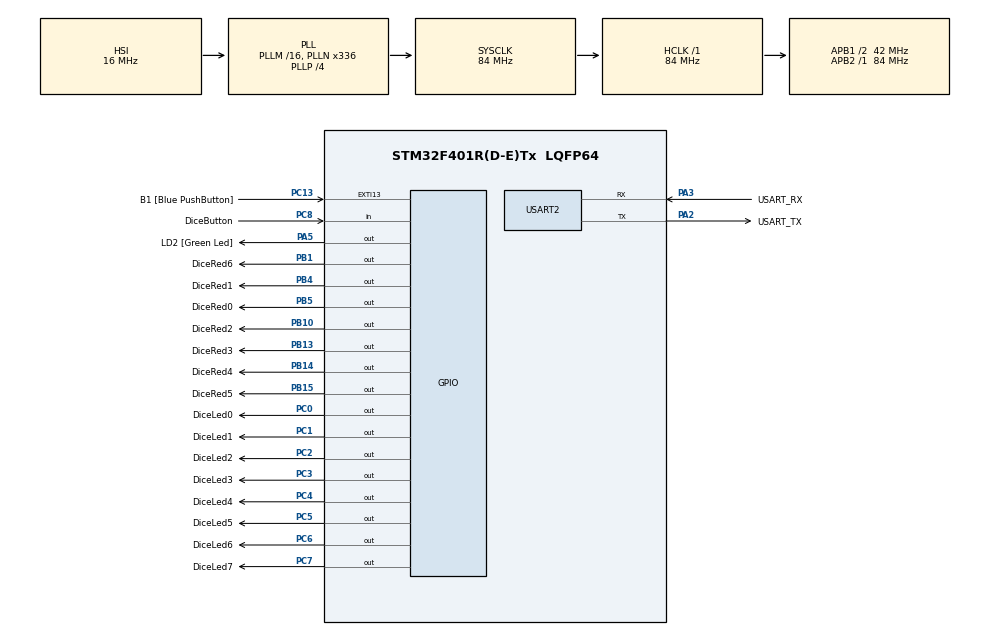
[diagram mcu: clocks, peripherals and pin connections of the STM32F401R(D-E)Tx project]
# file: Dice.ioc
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Mcu.Family=STM32F4
Mcu.Name=STM32F401R(D-E)Tx
Mcu.Package=LQFP64
NVIC.PriorityGroup=NVIC_PRIORITYGROUP_0
PA13.GPIO_Label=TMS
PA13.Mode=Serial_Wire
PA13.Signal=SYS_JTMS-SWDIO
PA14.GPIO_Label=TCK
PA14.Mode=Serial_Wire
PA14.Signal=SYS_JTCK-SWCLK
PA2.GPIO_Label=USART_TX
PA2.GPIO_Mode=GPIO_MODE_AF_PP
PA2.GPIO_PuPd=GPIO_NOPULL
PA2.GPIO_Speed=GPIO_SPEED_FREQ_LOW
PA2.Mode=Asynchronous
PA2.Signal=USART2_TX
PA3.GPIO_Label=USART_RX
PA3.GPIO_Mode=GPIO_MODE_AF_PP
PA3.GPIO_PuPd=GPIO_NOPULL
PA3.GPIO_Speed=GPIO_SPEED_FREQ_LOW
PA3.Mode=Asynchronous
PA3.Signal=USART2_RX
PA5.GPIO_Label=LD2 [Green Led]
PA5.GPIO_Mode=GPIO_MODE_OUTPUT_PP
PA5.GPIO_PuPd=GPIO_NOPULL
PA5.GPIO_Speed=GPIO_SPEED_FREQ_LOW
PA5.Signal=GPIO_Output
PB1.GPIO_Label=DiceRed6
PB1.Signal=GPIO_Output
PB10.GPIO_Label=DiceRed2
PB10.Signal=GPIO_Output
PB13.GPIO_Label=DiceRed3
PB13.Signal=GPIO_Output
PB14.GPIO_Label=DiceRed4
PB14.Signal=GPIO_Output
PB15.GPIO_Label=DiceRed5
PB15.Signal=GPIO_Output
PB3.GPIO_Label=SWO
PB3.Signal=SYS_JTDO-SWO
PB4.GPIO_Label=DiceRed1
PB4.Signal=GPIO_Output
PB5.GPIO_Label=DiceRed0
PB5.Signal=GPIO_Output
PC0.GPIO_Label=DiceLed0
PC0.GPIO_ModeDefaultOutputPP=GPIO_MODE_OUTPUT_PP
PC0.GPIO_PuPd=GPIO_NOPULL
PC0.GPIO_Speed=GPIO_SPEED_FREQ_LOW
PC0.PinState=GPIO_PIN_RESET
PC0.Signal=GPIO_Output
PC1.GPIO_Label=DiceLed1
PC1.GPIO_ModeDefaultOutputPP=GPIO_MODE_OUTPUT_PP
PC1.GPIO_PuPd=GPIO_NOPULL
PC1.GPIO_Speed=GPIO_SPEED_FREQ_LOW
PC1.PinState=GPIO_PIN_RESET
PC1.Signal=GPIO_Output
PC13-ANTI_TAMP.GPIO_Label=B1 [Blue PushButton]
PC13-ANTI_TAMP.GPIO_ModeDefaultEXTI=GPIO_MODE_IT_FALLING
PC13-ANTI_TAMP.GPIO_PuPd=GPIO_NOPULL
PC13-ANTI_TAMP.Signal=GPXTI13
PC14-OSC32_IN.Mode=LSE-External-Oscillator
PC14-OSC32_IN.Signal=RCC_OSC32_IN
PC15-OSC32_OUT.Mode=LSE-External-Oscillator
PC15-OSC32_OUT.Signal=RCC_OSC32_OUT
PC2.GPIO_Label=DiceLed2
PC2.GPIO_ModeDefaultOutputPP=GPIO_MODE_OUTPUT_PP
PC2.GPIO_PuPd=GPIO_NOPULL
PC2.GPIO_Speed=GPIO_SPEED_FREQ_LOW
PC2.PinState=GPIO_PIN_RESET
PC2.Signal=GPIO_Output
PC3.GPIO_Label=DiceLed3
PC3.GPIO_ModeDefaultOutputPP=GPIO_MODE_OUTPUT_PP
PC3.GPIO_PuPd=GPIO_NOPULL
PC3.GPIO_Speed=GPIO_SPEED_FREQ_LOW
PC3.PinState=GPIO_PIN_RESET
PC3.Signal=GPIO_Output
PC4.GPIO_Label=DiceLed4
PC4.GPIO_ModeDefaultOutputPP=GPIO_MODE_OUTPUT_PP
PC4.GPIO_PuPd=GPIO_NOPULL
PC4.GPIO_Speed=GPIO_SPEED_FREQ_LOW
PC4.PinState=GPIO_PIN_RESET
PC4.Signal=GPIO_Output
PC5.GPIO_Label=DiceLed5
PC5.GPIO_ModeDefaultOutputPP=GPIO_MODE_OUTPUT_PP
PC5.GPIO_PuPd=GPIO_NOPULL
PC5.GPIO_Speed=GPIO_SPEED_FREQ_LOW
PC5.PinState=GPIO_PIN_RESET
PC5.Signal=GPIO_Output
PC6.GPIO_Label=DiceLed6
PC6.GPIO_ModeDefaultOutputPP=GPIO_MODE_OUTPUT_PP
PC6.GPIO_PuPd=GPIO_NOPULL
PC6.GPIO_Speed=GPIO_SPEED_FREQ_LOW
PC6.PinState=GPIO_PIN_RESET
PC6.Signal=GPIO_Output
PC7.GPIO_Label=DiceLed7
PC7.Signal=GPIO_Output
PC8.GPIO_Label=DiceButton
PC8.GPIO_PuPd=GPIO_PULLUP
PC8.Signal=GPIO_Input
PH0\ -\ OSC_IN.Mode=HSE-External-Clock-Source
PH0\ -\ OSC_IN.Signal=RCC_OSC_IN
PH1\ -\ OSC_OUT.Mode=HSE-External-Clock-Source
PH1\ -\ OSC_OUT.Signal=RCC_OSC_OUT
ProjectManager.HeapSize=0x200
ProjectManager.StackSize=0x400
ProjectManager.TargetToolchain=STM32CubeIDE
RCC.48MHZClocksFreq_Value=48000000
RCC.AHBFreq_Value=84000000
RCC.APB1CLKDivider=RCC_HCLK_DIV2
RCC.APB1Freq_Value=42000000
RCC.APB1TimFreq_Value=84000000
RCC.APB2Freq_Value=84000000
RCC.APB2TimFreq_Value=84000000
RCC.CortexFreq_Value=84000000
RCC.HCLKFreq_Value=84000000
RCC.HSE_VALUE=8000000
RCC.HSI_VALUE=16000000
RCC.PLLN=336
RCC.PLLP=RCC_PLLP_DIV4
RCC.PLLQ=7
RCC.SYSCLKFreq_VALUE=84000000
RCC.SYSCLKSource=RCC_SYSCLKSOURCE_PLLCLK
RCC.VCOOutputFreq_Value=336000000
USART2.VirtualMode=VM_ASYNC
board=NUCLEO-F401RE

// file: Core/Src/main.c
/* USER CODE BEGIN Header */
/**
  ******************************************************************************
  * @file           : main.c
  * @brief          : Main program body
  ******************************************************************************
  * @attention
  *
  * Copyright (c) 2022 STMicroelectronics.
  * All rights reserved.
  *
  * This software is licensed under terms that can be found in the LICENSE file
  * in the root directory of this software component.
  * If no LICENSE file comes with this software, it is provided AS-IS.
  *
  ******************************************************************************
  */
/* USER CODE END Header */
#include "main.h"

/* USER CODE BEGIN Includes */
#include <stdio.h>
/* USER CODE END Includes */

 UART_HandleTypeDef huart2;

void SystemClock_Config(void);
static void MX_GPIO_Init(void);
static void MX_USART2_UART_Init(void);

/* USER CODE BEGIN 0 */
int buttonPressed(){
	return 0 == (DiceButton_GPIO_Port->IDR & DiceButton_Pin);
}

int blueButtonPressed(){
	return 0 == (B1_GPIO_Port->IDR & B1_Pin);
}

void setGreenLed(int set){
	volatile uint32_t * ODR = &(LD2_GPIO_Port->ODR);
	*ODR = ((*ODR) & !LD2_Pin) //keep old values on rest of register
			| (set?LD2_Pin:0);//set pin if blue is true
}

void put_on_sseg(unsigned value){
	char * gpioP = (char*)&(DiceLed0_GPIO_Port->ODR);
	const char dieBitSet[] = {
		0b00000000,
		0b01000100,
		0b00111110,
		0b01101110,
		0b01001101,
		0b01101011,
		0b01111011,
		0b01000110,
		0b01111111,
		0b01001111,
		0b11110000
	};
	if(value > 9 ){
		value = 10;
	}
	*gpioP = dieBitSet[value];
}

void put_on_dots(unsigned value){
	switch(value){
	case 1:{
		HAL_GPIO_WritePin(DiceRed0_GPIO_Port, DiceRed0_Pin, GPIO_PIN_RESET);
		HAL_GPIO_WritePin(DiceRed1_GPIO_Port, DiceRed1_Pin, GPIO_PIN_RESET);
		HAL_GPIO_WritePin(DiceRed2_GPIO_Port, DiceRed2_Pin, GPIO_PIN_RESET);
		HAL_GPIO_WritePin(DiceRed3_GPIO_Port, DiceRed3_Pin, GPIO_PIN_SET);
		HAL_GPIO_WritePin(DiceRed4_GPIO_Port, DiceRed4_Pin, GPIO_PIN_RESET);
		HAL_GPIO_WritePin(DiceRed5_GPIO_Port, DiceRed5_Pin, GPIO_PIN_RESET);
		HAL_GPIO_WritePin(DiceRed6_GPIO_Port, DiceRed6_Pin, GPIO_PIN_RESET);
	}break;
	case 2:{
		HAL_GPIO_WritePin(DiceRed0_GPIO_Port, DiceRed0_Pin, GPIO_PIN_RESET);
		HAL_GPIO_WritePin(DiceRed1_GPIO_Port, DiceRed1_Pin, GPIO_PIN_RESET);
		HAL_GPIO_WritePin(DiceRed2_GPIO_Port, DiceRed2_Pin, GPIO_PIN_SET);
		HAL_GPIO_WritePin(DiceRed3_GPIO_Port, DiceRed3_Pin, GPIO_PIN_RESET);
		HAL_GPIO_WritePin(DiceRed4_GPIO_Port, DiceRed4_Pin, GPIO_PIN_SET);
		HAL_GPIO_WritePin(DiceRed5_GPIO_Port, DiceRed5_Pin, GPIO_PIN_RESET);
		HAL_GPIO_WritePin(DiceRed6_GPIO_Port, DiceRed6_Pin, GPIO_PIN_RESET);
	}break;
	case 3:{
		HAL_GPIO_WritePin(DiceRed0_GPIO_Port, DiceRed0_Pin, GPIO_PIN_RESET);
		HAL_GPIO_WritePin(DiceRed1_GPIO_Port, DiceRed1_Pin, GPIO_PIN_RESET);
		HAL_GPIO_WritePin(DiceRed2_GPIO_Port, DiceRed2_Pin, GPIO_PIN_SET);
		HAL_GPIO_WritePin(DiceRed3_GPIO_Port, DiceRed3_Pin, GPIO_PIN_SET);
		HAL_GPIO_WritePin(DiceRed4_GPIO_Port, DiceRed4_Pin, GPIO_PIN_SET);
		HAL_GPIO_WritePin(DiceRed5_GPIO_Port, DiceRed5_Pin, GPIO_PIN_RESET);
		HAL_GPIO_WritePin(DiceRed6_GPIO_Port, DiceRed6_Pin, GPIO_PIN_RESET);
	}break;
	case 4:{
		HAL_GPIO_WritePin(DiceRed0_GPIO_Port, DiceRed0_Pin, GPIO_PIN_SET);
		HAL_GPIO_WritePin(DiceRed1_GPIO_Port, DiceRed1_Pin, GPIO_PIN_RESET);
		HAL_GPIO_WritePin(DiceRed2_GPIO_Port, DiceRed2_Pin, GPIO_PIN_SET);
		HAL_GPIO_WritePin(DiceRed3_GPIO_Port, DiceRed3_Pin, GPIO_PIN_RESET);
		HAL_GPIO_WritePin(DiceRed4_GPIO_Port, DiceRed4_Pin, GPIO_PIN_SET);
		HAL_GPIO_WritePin(DiceRed5_GPIO_Port, DiceRed5_Pin, GPIO_PIN_RESET);
		HAL_GPIO_WritePin(DiceRed6_GPIO_Port, DiceRed6_Pin, GPIO_PIN_SET);
	}break;
	case 5:{
		HAL_GPIO_WritePin(DiceRed0_GPIO_Port, DiceRed0_Pin, GPIO_PIN_SET);
		HAL_GPIO_WritePin(DiceRed1_GPIO_Port, DiceRed1_Pin, GPIO_PIN_RESET);
		HAL_GPIO_WritePin(DiceRed2_GPIO_Port, DiceRed2_Pin, GPIO_PIN_SET);
		HAL_GPIO_WritePin(DiceRed3_GPIO_Port, DiceRed3_Pin, GPIO_PIN_SET);
		HAL_GPIO_WritePin(DiceRed4_GPIO_Port, DiceRed4_Pin, GPIO_PIN_SET);
		HAL_GPIO_WritePin(DiceRed5_GPIO_Port, DiceRed5_Pin, GPIO_PIN_RESET);
		HAL_GPIO_WritePin(DiceRed6_GPIO_Port, DiceRed6_Pin, GPIO_PIN_SET);
	}break;
	case 6:{
		HAL_GPIO_WritePin(DiceRed0_GPIO_Port, DiceRed0_Pin, GPIO_PIN_SET);
		HAL_GPIO_WritePin(DiceRed1_GPIO_Port, DiceRed1_Pin, GPIO_PIN_SET);
		HAL_GPIO_WritePin(DiceRed2_GPIO_Port, DiceRed2_Pin, GPIO_PIN_SET);
		HAL_GPIO_WritePin(DiceRed3_GPIO_Port, DiceRed3_Pin, GPIO_PIN_RESET);
		HAL_GPIO_WritePin(DiceRed4_GPIO_Port, DiceRed4_Pin, GPIO_PIN_SET);
		HAL_GPIO_WritePin(DiceRed5_GPIO_Port, DiceRed5_Pin, GPIO_PIN_SET);
		HAL_GPIO_WritePin(DiceRed6_GPIO_Port, DiceRed6_Pin, GPIO_PIN_SET);
	}break;
	default:{
		HAL_GPIO_WritePin(DiceRed0_GPIO_Port, DiceRed0_Pin, GPIO_PIN_SET);
		HAL_GPIO_WritePin(DiceRed1_GPIO_Port, DiceRed1_Pin, GPIO_PIN_SET);
		HAL_GPIO_WritePin(DiceRed2_GPIO_Port, DiceRed2_Pin, GPIO_PIN_SET);
		HAL_GPIO_WritePin(DiceRed3_GPIO_Port, DiceRed3_Pin, GPIO_PIN_SET);
		HAL_GPIO_WritePin(DiceRed4_GPIO_Port, DiceRed4_Pin, GPIO_PIN_SET);
		HAL_GPIO_WritePin(DiceRed5_GPIO_Port, DiceRed5_Pin, GPIO_PIN_SET);
		HAL_GPIO_WritePin(DiceRed6_GPIO_Port, DiceRed6_Pin, GPIO_PIN_SET);
	}
	}
}

/* USER CODE END 0 */

int main(void)
{

  /* MCU Configuration--------------------------------------------------------*/

  /* Reset of all peripherals, Initializes the Flash interface and the Systick. */
  HAL_Init();

  /* Configure the system clock */
  SystemClock_Config();

  /* Initialize all configured peripherals */
  MX_GPIO_Init();
  MX_USART2_UART_Init();
  /* USER CODE BEGIN 2 */

  char str[81] = { '\0' };
  uint16_t str_len = 0;
  str_len = sprintf(str, "Starting up!\r\n");
  HAL_UART_Transmit(&huart2, (uint8_t*) str, str_len, HAL_MAX_DELAY);
  if(blueButtonPressed()){
	  while(!buttonPressed()){
		  int blue = blueButtonPressed();
		  str_len = sprintf(str, "Blue state %u\r\n", blue);
		  HAL_UART_Transmit(&huart2, (uint8_t*) str, str_len, HAL_MAX_DELAY);
		  setGreenLed(blue);
	  }
  }
  while( 0 && !buttonPressed()){
	  int blue = HAL_GPIO_ReadPin(B1_GPIO_Port, B1_Pin);
	  HAL_GPIO_WritePin(LD2_GPIO_Port, LD2_Pin, blue);

  }
  {
	  int beef = 0xDEADBEEF;
	  char * bp = (char*)&beef;
	  str_len = sprintf(str, "Set value %x, %xhh %xhh %xhh %xhh\r\n",
			  beef, *(bp), *(bp+1), *(bp+2), *(bp+3));
	  HAL_UART_Transmit(&huart2, (uint8_t*) str, str_len, HAL_MAX_DELAY);

  }

  /* USER CODE END 2 */

  /* Infinite loop */
  /* USER CODE BEGIN WHILE */
  int dieValue = 1;
  put_on_sseg(10);
  put_on_dots(10);
  HAL_Delay(1000);
  while (1)
  {
	  if(buttonPressed()){
		  put_on_sseg(dieValue);
		  put_on_dots(dieValue);
		  str_len = sprintf(str, "Set value %i, %xhh\r\n", dieValue, *(char*)&(DiceLed0_GPIO_Port->ODR));
		  HAL_UART_Transmit(&huart2, (uint8_t*) str, str_len, HAL_MAX_DELAY);

		  if(dieValue++ == 6){//reset after max value
		     dieValue = 1;
		  }
	  }

	  HAL_Delay(1);
	  /*
	  HAL_GPIO_WritePin(DiceLed0_GPIO_Port, 1<<pinIndex, GPIO_PIN_RESET);
	  if(1 << pinIndex++ == DiceLed6_Pin){//reset back to the start if we have reached the last pin
		  pinIndex = 0;
	  }
	  HAL_GPIO_WritePin(DiceLed0_GPIO_Port, 1<<pinIndex, GPIO_PIN_SET);
	  char * gpioP = (char*)&(DiceLed0_GPIO_Port->ODR);
	  str_len = sprintf(str, "Set pin %i, %xhh %xhh %xhh %xhh\r\n", pinIndex,
			  *gpioP, *(gpioP+1), *(gpioP+2), *(gpioP+3));
	  HAL_UART_Transmit(&huart2, (uint8_t*) str, str_len, HAL_MAX_DELAY);

	  HAL_Delay(500);
	  //*/
    /* USER CODE END WHILE */

  }
}

void SystemClock_Config(void)
{
  RCC_OscInitTypeDef RCC_OscInitStruct = {0};
  RCC_ClkInitTypeDef RCC_ClkInitStruct = {0};

  /** Configure the main internal regulator output voltage
  */
  __HAL_RCC_PWR_CLK_ENABLE();
  __HAL_PWR_VOLTAGESCALING_CONFIG(PWR_REGULATOR_VOLTAGE_SCALE2);

  /** Initializes the RCC Oscillators according to the specified parameters
  * in the RCC_OscInitTypeDef structure.
  */
  RCC_OscInitStruct.OscillatorType = RCC_OSCILLATORTYPE_HSI;
  RCC_OscInitStruct.HSIState = RCC_HSI_ON;
  RCC_OscInitStruct.HSICalibrationValue = RCC_HSICALIBRATION_DEFAULT;
  RCC_OscInitStruct.PLL.PLLState = RCC_PLL_ON;
  RCC_OscInitStruct.PLL.PLLSource = RCC_PLLSOURCE_HSI;
  RCC_OscInitStruct.PLL.PLLM = 16;
  RCC_OscInitStruct.PLL.PLLN = 336;
  RCC_OscInitStruct.PLL.PLLP = RCC_PLLP_DIV4;
  RCC_OscInitStruct.PLL.PLLQ = 7;
  if (HAL_RCC_OscConfig(&RCC_OscInitStruct) != HAL_OK)
  {
    Error_Handler();
  }

  /** Initializes the CPU, AHB and APB buses clocks
  */
  RCC_ClkInitStruct.ClockType = RCC_CLOCKTYPE_HCLK|RCC_CLOCKTYPE_SYSCLK
                              |RCC_CLOCKTYPE_PCLK1|RCC_CLOCKTYPE_PCLK2;
  RCC_ClkInitStruct.SYSCLKSource = RCC_SYSCLKSOURCE_PLLCLK;
  RCC_ClkInitStruct.AHBCLKDivider = RCC_SYSCLK_DIV1;
  RCC_ClkInitStruct.APB1CLKDivider = RCC_HCLK_DIV2;
  RCC_ClkInitStruct.APB2CLKDivider = RCC_HCLK_DIV1;

  if (HAL_RCC_ClockConfig(&RCC_ClkInitStruct, FLASH_LATENCY_2) != HAL_OK)
  {
    Error_Handler();
  }
}

static void MX_USART2_UART_Init(void)
{

  huart2.Instance = USART2;
  huart2.Init.BaudRate = 115200;
  huart2.Init.WordLength = UART_WORDLENGTH_8B;
  huart2.Init.StopBits = UART_STOPBITS_1;
  huart2.Init.Parity = UART_PARITY_NONE;
  huart2.Init.Mode = UART_MODE_TX_RX;
  huart2.Init.HwFlowCtl = UART_HWCONTROL_NONE;
  huart2.Init.OverSampling = UART_OVERSAMPLING_16;
  if (HAL_UART_Init(&huart2) != HAL_OK)
  {
    Error_Handler();
  }

}

static void MX_GPIO_Init(void)
{
  GPIO_InitTypeDef GPIO_InitStruct = {0};

  /* GPIO Ports Clock Enable */
  __HAL_RCC_GPIOC_CLK_ENABLE();
  __HAL_RCC_GPIOH_CLK_ENABLE();
  __HAL_RCC_GPIOA_CLK_ENABLE();
  __HAL_RCC_GPIOB_CLK_ENABLE();

  /*Configure GPIO pin Output Level */
  HAL_GPIO_WritePin(GPIOC, DiceLed0_Pin|DiceLed1_Pin|DiceLed2_Pin|DiceLed3_Pin
                          |DiceLed4_Pin|DiceLed5_Pin|DiceLed6_Pin|DiceLed7_Pin, GPIO_PIN_RESET);

  /*Configure GPIO pin Output Level */
  HAL_GPIO_WritePin(LD2_GPIO_Port, LD2_Pin, GPIO_PIN_RESET);

  /*Configure GPIO pin Output Level */
  HAL_GPIO_WritePin(GPIOB, DiceRed6_Pin|DiceRed2_Pin|DiceRed3_Pin|DiceRed4_Pin
                          |DiceRed5_Pin|DiceRed1_Pin|DiceRed0_Pin, GPIO_PIN_RESET);

  /*Configure GPIO pin : B1_Pin */
  GPIO_InitStruct.Pin = B1_Pin;
  GPIO_InitStruct.Mode = GPIO_MODE_IT_FALLING;
  GPIO_InitStruct.Pull = GPIO_NOPULL;
  HAL_GPIO_Init(B1_GPIO_Port, &GPIO_InitStruct);

  /*Configure GPIO pins : DiceLed0_Pin DiceLed1_Pin DiceLed2_Pin DiceLed3_Pin
                           DiceLed4_Pin DiceLed5_Pin DiceLed6_Pin DiceLed7_Pin */
  GPIO_InitStruct.Pin = DiceLed0_Pin|DiceLed1_Pin|DiceLed2_Pin|DiceLed3_Pin
                          |DiceLed4_Pin|DiceLed5_Pin|DiceLed6_Pin|DiceLed7_Pin;
  GPIO_InitStruct.Mode = GPIO_MODE_OUTPUT_PP;
  GPIO_InitStruct.Pull = GPIO_NOPULL;
  GPIO_InitStruct.Speed = GPIO_SPEED_FREQ_LOW;
  HAL_GPIO_Init(GPIOC, &GPIO_InitStruct);

  /*Configure GPIO pin : LD2_Pin */
  GPIO_InitStruct.Pin = LD2_Pin;
  GPIO_InitStruct.Mode = GPIO_MODE_OUTPUT_PP;
  GPIO_InitStruct.Pull = GPIO_NOPULL;
  GPIO_InitStruct.Speed = GPIO_SPEED_FREQ_LOW;
  HAL_GPIO_Init(LD2_GPIO_Port, &GPIO_InitStruct);

  /*Configure GPIO pins : DiceRed6_Pin DiceRed2_Pin DiceRed3_Pin DiceRed4_Pin
                           DiceRed5_Pin DiceRed1_Pin DiceRed0_Pin */
  GPIO_InitStruct.Pin = DiceRed6_Pin|DiceRed2_Pin|DiceRed3_Pin|DiceRed4_Pin
                          |DiceRed5_Pin|DiceRed1_Pin|DiceRed0_Pin;
  GPIO_InitStruct.Mode = GPIO_MODE_OUTPUT_PP;
  GPIO_InitStruct.Pull = GPIO_NOPULL;
  GPIO_InitStruct.Speed = GPIO_SPEED_FREQ_LOW;
  HAL_GPIO_Init(GPIOB, &GPIO_InitStruct);

  /*Configure GPIO pin : DiceButton_Pin */
  GPIO_InitStruct.Pin = DiceButton_Pin;
  GPIO_InitStruct.Mode = GPIO_MODE_INPUT;
  GPIO_InitStruct.Pull = GPIO_PULLUP;
  HAL_GPIO_Init(DiceButton_GPIO_Port, &GPIO_InitStruct);

}

void Error_Handler(void)
{
  __disable_irq();
  while (1)
  {
  }
}
